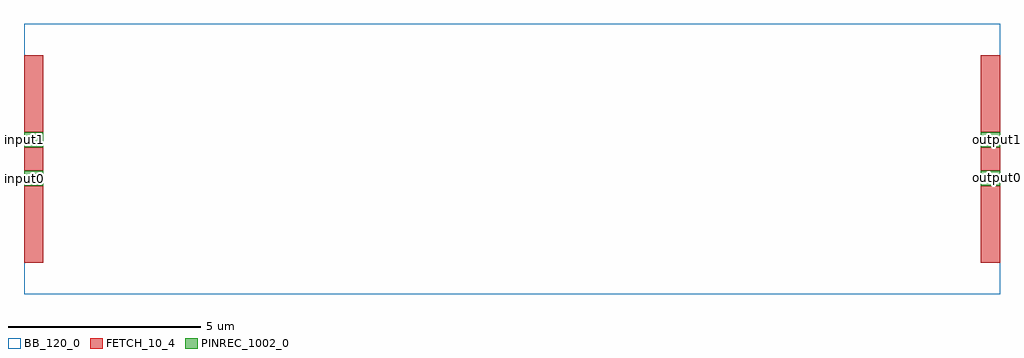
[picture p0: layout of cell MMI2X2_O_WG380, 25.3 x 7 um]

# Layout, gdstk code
import gdstk
lib = gdstk.Library(unit=1e-6, precision=1e-09)
def R(c, l, rs):  # rectangles x0, y0, x1, y1
    for r in rs: c.add(gdstk.rectangle(r[:2], r[2:], *l))
FETCH_10_4 = (10, 4)
BB_120_0 = (120, 0)
PINREC_1002_0 = (1002, 0)

mmi2x2_o_wg380 = lib.new_cell('MMI2X2_O_WG380')
R(mmi2x2_o_wg380, FETCH_10_4, [(0,0.81,0.5,2.81), (24.8,0.81,25.3,2.81), (0,3.19,0.5,3.81), (24.8,3.19,25.3,3.81), (0,4.19,0.5,6.19), (24.8,4.19,25.3,6.19)])
R(mmi2x2_o_wg380, BB_120_0, [(0,0,25.3,7)])
R(mmi2x2_o_wg380, PINREC_1002_0, [(0,2.81,0.5,3.19), (24.8,2.81,25.3,3.19), (0,3.81,0.5,4.19), (24.8,3.81,25.3,4.19)])
mmi2x2_o_wg380.add(gdstk.Label('input0', (0,2.999), layer=1000, texttype=0))
mmi2x2_o_wg380.add(gdstk.Label('output1', (25.3,3.994), layer=1000, texttype=0))
mmi2x2_o_wg380.add(gdstk.Label('output0', (25.3,3.012), layer=1000, texttype=0))
mmi2x2_o_wg380.add(gdstk.Label('input1', (0,4.013), layer=1000, texttype=0))

lib.write_gds('MMI2X2_O_WG380.gds')
